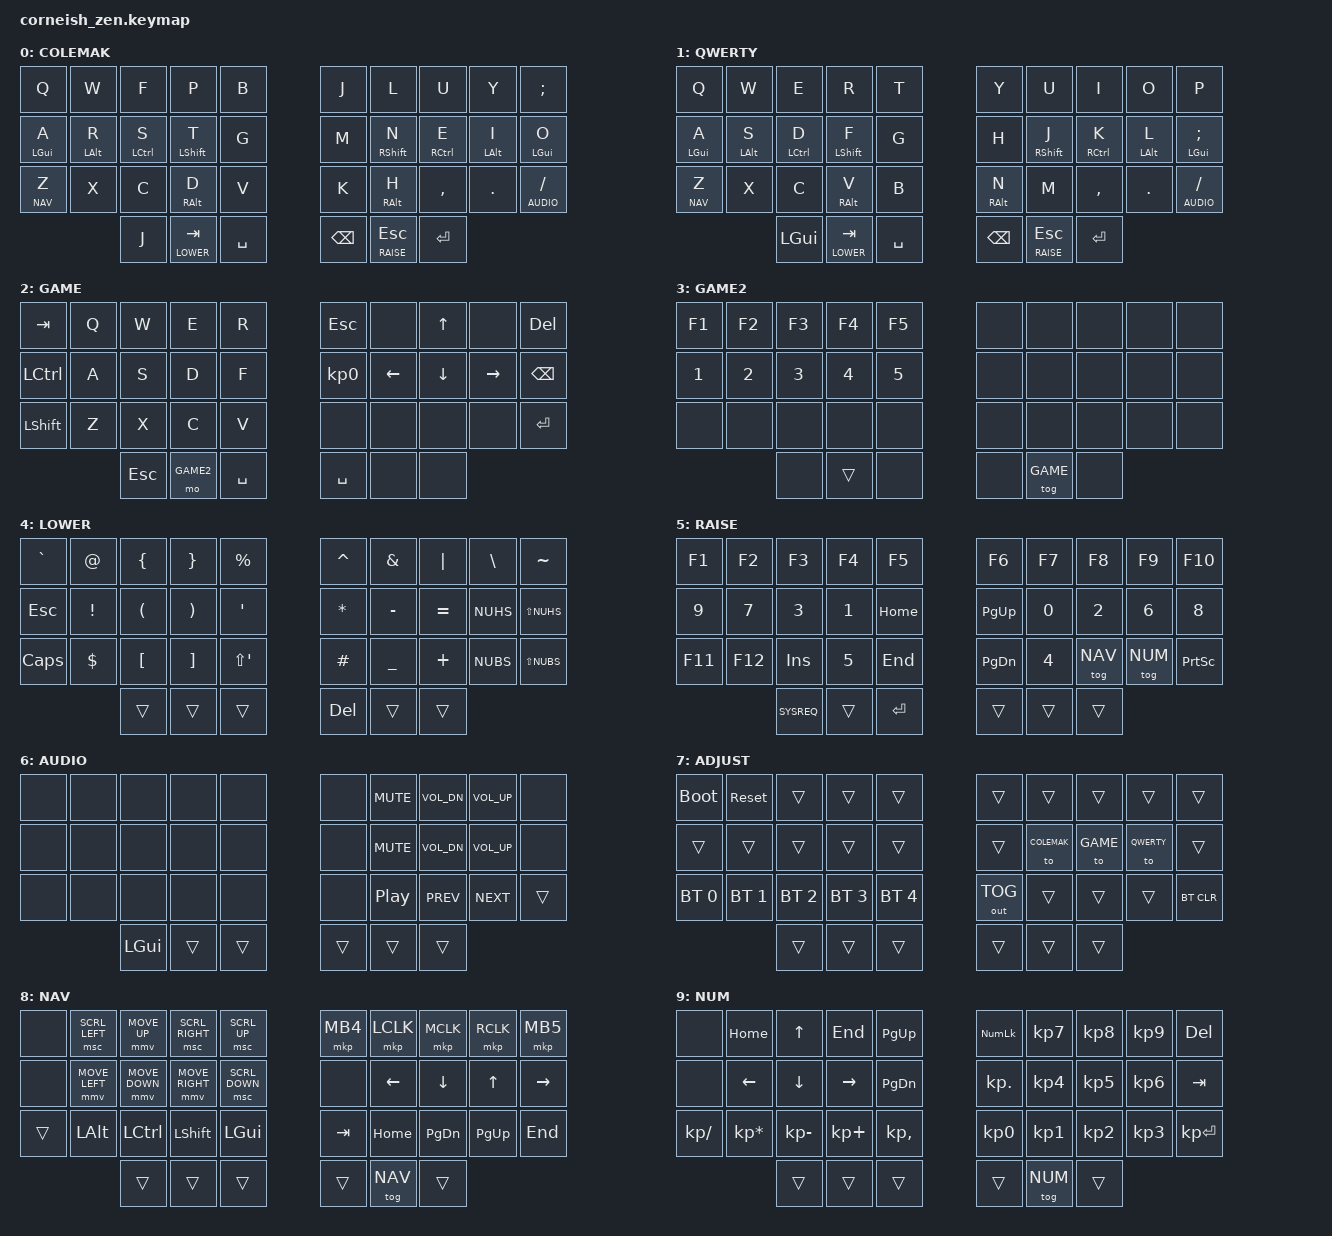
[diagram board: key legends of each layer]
/* -*- mode: dts -*-
*
* Copyright (c) 2021 Darryl deHaan
* SPDX-License-Identifier: MIT
*
*/

#include <behaviors.dtsi>
#include <dt-bindings/zmk/keys.h>
#include <dt-bindings/zmk/bt.h>
#include <dt-bindings/zmk/mouse.h>
#include <dt-bindings/zmk/outputs.h>
#include <dt-bindings/zmk/pointing.h>

#define COLEMAK 0
#define QWERTY  1  
#define GAME    2
#define GAME2   3
#define LOWER   4
#define RAISE   5
#define AUDIO   6
#define ADJUST  7
#define NAV     8
#define NUM     9

&mt {
    flavor = "tap-preferred";
    tapping-term-ms = <200>;
};	   


/ {
  chosen {
    //zmk,matrix_transform = &default_transform;
    zmk,matrix_transform = &five_column_transform;
  };
};

/ {
    conditional_layers {
        compatible = "zmk,conditional-layers";
        tri_layer {
            if-layers = <LOWER RAISE>;
            then-layer = <ADJUST>;
        };
    };
};


/ {
    combos {
        compatible = "zmk,combos";
        combo_capsword {
            timeout-ms = <50>;
	    // Both shifts are on homing keys on homerow
            key-positions = <13 16>;
            bindings = <&caps_word>;
        };
    };
};

/ {
        keymap {
                compatible = "zmk,keymap";

                default_layer {
                        label = "COLEMAK";
// ------------------------------------------------------------------------------------------------------
// |    Q   |    W   |    F    |    P     |    B   |   |    J   |     L    |    U    |   Y    |     ;   |
// | LGUI/A | LALT/R | LCTRL/S | LSHIFT/T |    G   |   |    M   | RSHIFT/N | RCTRL/E | LALT/I |  LGUI/O |
// | NAV/Z  |    X   |    C    |  RALT/D  |    V   |   |    K   |  RALT/H  |    ,    |    .   | AUDIO// |
//                   |    J    |  LWR/TAB |   SPC  |   |  BSPC  | RSE/ESC  |  ENTER  |
                           bindings = <
   &kp Q      &kp W      &kp F       &kp P         &kp B       &kp J      &kp L         &kp U       &kp Y      &kp SEMI
   &mt LGUI A &mt LALT R &mt LCTRL S &mt LSHIFT T  &kp G       &kp M      &mt RSHIFT N  &mt RCTRL E &mt LALT I &mt LGUI O 
   &lt NAV Z  &kp X      &kp C       &mt RALT D    &kp V       &kp K      &mt RALT H    &kp COMMA   &kp DOT    &lt AUDIO FSLH
                         &kp J       &lt LOWER TAB &kp SPACE   &kp BSPC   &lt RAISE ESC &kp ENTER
                        >;
                };

		qwerty_layer {
                        label = "QWERTY";
// ------------------------------------------------------------------------------------------------------
// |    Q   |    W   |    E    |     R    |    T   |   |    Y   |     U    |    I    |    O   |     P   |
// | LGUI/A | LALT/S | LCTRL/D | LSHIFT/F | RALT/G |   | RALT/H | RSHIFT/J | RCTRL/K | LALT/L |  LGUI/; |
// | NAV/Z  |    X   |    C    |     V    |    B   |   |    M   |    N     |    ,    |    .   | AUDIO// |
//                   |   GUI   |  LWR/TAB |   SPC  |   |  BSPC  | RSE/ESC  |  ENTER  |
                           bindings = <
   &kp Q      &kp W      &kp E       &kp R         &kp T        &kp Y      &kp U         &kp I       &kp O      &kp P
   &mt LGUI A &mt LALT S &mt LCTRL D &mt LSHIFT F  &kp G        &kp H      &mt RSHIFT J  &mt RCTRL K &mt LALT L &mt LGUI SEMI 
   &lt NAV Z  &kp X      &kp C       &mt RALT V    &kp B        &mt RALT N &kp M         &kp COMMA   &kp DOT    &lt AUDIO FSLH
                         &kp LGUI    &lt LOWER TAB &kp SPACE    &kp BSPC   &lt RAISE ESC &kp ENTER
                        >;
                };

		game_layer {
		        label = "GAME";
// --------------------------------------------------------------------------
// |  TAB |  Q  |  W  |   E   |  R  |   |     |      |  UP  |   O   |  BS   |
// | CTRL |  A  |  S  |   D   |  F  |   |     | LEFT | DOWN | RIGHT | KP 0  |
// | SHFT |  X  |  C  |   V   |  B  |   |     |      |      |       | ENTER |
//              |     | GAME2 | SPC |   | SPC |      |      |
                           bindings = <
   &kp TAB   &kp Q  &kp W   &kp E     &kp R       &kp ESC   &none    &kp UP   &none     &kp DEL
   &kp LCTRL &kp A  &kp S   &kp D     &kp F       &kp KP_N0 &kp LEFT &kp DOWN &kp RIGHT &kp BSPC
   &kp LSHFT &kp Z  &kp X   &kp C     &kp V       &none     &none    &none    &none     &kp ENTER
                    &kp ESC &mo GAME2 &kp SPACE   &kp SPACE &none    &none
                        >;
                };

		game2_layer {
		        label = "GAME2";
// ----------------------------------------------------------
// | F1 | F2 | F3 | F4 | F5 |   |   |         |    |    |   |
// |  1 |  2 |  3 |  4 |  5 |   |   |         |    |    |   |
// |    |    |    |    |    |   |   |         |    |    |   |
//           |    |    |    |   |   | TG GAME |    |
                           bindings = <
   &kp F1 &kp F2 &kp F3 &kp F4 &kp F5   &none  &none     &none  &none  &none
   &kp N1 &kp N2 &kp N3 &kp N4 &kp N5   &none  &none     &none  &none  &none
   &none  &none  &none  &none  &none    &none  &none     &none  &none  &none
                 &none  &trans &none    &none  &tog GAME &none
                        >;
                };			

                lower_layer {
                        label = "LOWER";
// ---------------------------------------------------------------------------
// |   `  |  @  |  {  |  }  |  %  |   |  ^  |    &   |  |  |   \  |     ~    |
// |  ESC |  !  |  (  |  )  |  '  |   |  *  |    -   |  =  | NUHS | LS(NUHS) |
// | CAPS |  $  |  [  |  ]  |  "  |   |  #  |    _   |  +  | NUBS | LS(NUBS) |
//              | GUI |     |     |   | DEL | ADJUST |  '  |
                        bindings = <
   &kp GRAVE &kp AT    &kp LBRC   &kp RBRC  &kp PRCNT    &kp CARET &kp AMPS   &kp PIPE  &kp BSLH  &kp TILDE 
   &kp ESC   &kp EXCL  &kp LPAR   &kp RPAR  &kp SQT      &kp ASTRK &kp MINUS  &kp EQUAL &kp NUHS  &kp LS(NUHS) 
   &kp CAPS  &kp DLLR  &kp LBKT   &kp RBKT  &kp LS(SQT)  &kp HASH  &kp UNDER  &kp PLUS  &kp NUBS  &kp LS(NUBS)
                       &trans     &trans    &trans       &kp DEL   &trans     &trans
                        >;
                };

                raise_layer {
                        label = "RAISE";
// --------------------------------------------------------------------------
// |  F1 |  F2 |    F3  |    F4  |   F5  |   |  F6  |  F7 |  F8 |  F9  |  F10  |
// |  9  |  7  |    3   |    1   |   5   |   |   4  |  0  |  2  |   6  |   8   |
// | F11 | F12 |   INS  |  HOME  |  END  |   | PSCR | NAV | NUM |PG_UP | PG_DN |
//             | SYSREQ | ADJUST | ENTER |   |      |     |     |
                        bindings = <
   &kp F1   &kp F2   &kp F3     &kp F4   &kp F5        &kp F6    &kp F7   &kp F8   &kp F9    &kp F10 
   &kp N9   &kp N7   &kp N3     &kp N1   &kp HOME      &kp PG_UP &kp N0   &kp N2   &kp N6    &kp N8 
   &kp F11  &kp F12  &kp INS    &kp N5   &kp END       &kp PG_DN &kp N4   &tog NAV &tog NUM  &kp PSCRN
                     &kp SYSREQ &trans   &kp ENTER     &trans    &trans   &trans
                        >;
                };

		audio_layer {
			    label = "AUDIO";
// ------------------------------------------------------------------------------
// |     |     |     |     |     |   |     |            |        |        |     |
// |     |     |     |     |     |   |     |    MUTE    | VOL_DN | VOL_UP |     |
// |     |     |     |     |     |   |     | PLAY_PAUSE |  PREV  |  NEXT  |     |
//             |     |     |     |   |     |            |        |
                        bindings = <
   &none &none &none    &none  &none    &none  &kp K_MUTE       &kp K_VOL_DN &kp K_VOL_UP &none 
   &none &none &none    &none  &none    &none  &kp C_MUTE       &kp C_VOL_DN &kp C_VOL_UP &none
   &none &none &none    &none  &none    &none  &kp C_PLAY_PAUSE &kp C_PREV   &kp C_NEXT   &trans
               &kp LGUI &trans &trans   &trans &trans           &trans
                        >;
                };
		
		adjust_layer {
			     label = "ADJUST";
// ---------------------------------------------------------------------------------
// | BOOT | RESET |     |     |     |   |         |         |      |        |        |
// |      |       |     |     |     |   |         | COLEMAK | GAME | QWERTY |        |
// |  BT0 |  BT1  | BT2 | BT3 | BT4 |   | OUT_TOG |         |      |        | BT_CLR |
//                |     |     |     |   |         |         |      |
                        bindings = <
   &bootloader  &sys_reset   &trans       &trans       &trans       &trans       &trans      &trans   &trans     &trans 
   &trans       &trans       &trans       &trans       &trans       &trans       &to COLEMAK &to GAME &to QWERTY &trans
   &bt BT_SEL 0 &bt BT_SEL 1 &bt BT_SEL 2 &bt BT_SEL 3 &bt BT_SEL 4 &out OUT_TOG &trans      &trans   &trans     &bt BT_CLR 
                    	     &trans       &trans       &trans       &trans       &trans      &trans
                        >;
                };

		nav_layer {
			  label = "NAV";
// (Empty space left for mous controls and buttons)
// --------------------------------------------------------------------------------
// |    | SCRL_LEFT  |  MOUSE_UP  | SCRL_RIGHT  | SCRL_UP |   | MOUSE_B4 | MOUSE_LCLK | MOUSE_MCLK | MOUSE_RCLK | MOUSE_B5 |
// |    | MOUSE_LEFT | MOUSE_DOWN | MOUSE_RIGHT | SCRL_DN |   |          |     LEFT   |     DOWN   |     UP     |   RIGHT  |
// |    |    LALT    |    LCTRL   |   LSHIFT    |   LGUI  |   |    TAB   |     HOME   |    PG_DN   |   PG_UP    |    END   |
//                   |            |             |         |   |          |    T_NAV   |            |
                        bindings = <
   &none  &msc SCRL_LEFT   &mmv MOVE_UP   &msc SCRL_RIGHT   &msc SCRL_UP          &mkp MB4 &mkp LCLK  &mkp MCLK &mkp RCLK &mkp MB5 
   &none  &mmv MOVE_LEFT   &mmv MOVE_DOWN &mmv MOVE_RIGHT   &msc SCRL_DOWN        &none    &kp LEFT   &kp DOWN  &kp UP    &kp RIGHT
   &trans &kp LALT         &kp LCTRL      &kp LSHFT         &kp LGUI              &kp TAB  &kp HOME   &kp PG_DN &kp PG_UP &kp END
                    	   &trans         &trans            &trans                &trans   &tog NAV   &trans
                        >;
                };			  

		num_layer {
			  label = "NUM";
// ------------------------------------------------------------------------------------
// |       |  HOME |    UP   |   END  |  PG_UP  |   | NUMLK |   N7  |  N8 |  N9 | ENT |
// |       |  LEFT |   DOWN  |  RIGHT |  PG_DN  |   |  DOT  |   N4  |  N5 |  N6 | TAB |
// | N_DIV | N_MUL | N_MINUS | N_PLUS | N_COMMA |   |   N0  |   N1  |  N2 |  N3 | DEL |
//                 |         |        |         |   |       | T_NUM |     |
                        bindings = <
   &none         &kp HOME        &kp UP       &kp END     &kp PG_UP    &kp KP_NUM &kp KP_N7  &kp KP_N8  &kp KP_N9  &kp DEL 
   &none         &kp LEFT        &kp DOWN     &kp RIGHT   &kp PG_DN    &kp KP_DOT &kp KP_N4  &kp KP_N5  &kp KP_N6  &kp TAB
   &kp KP_DIVIDE &kp KP_MULTIPLY &kp KP_MINUS &kp KP_PLUS &kp KP_COMMA &kp KP_N0  &kp KP_N1  &kp KP_N2  &kp KP_N3  &kp KP_ENTER
                    	         &trans       &trans      &trans       &trans     &tog NUM   &trans
                        >;
                };			  
        };
};
